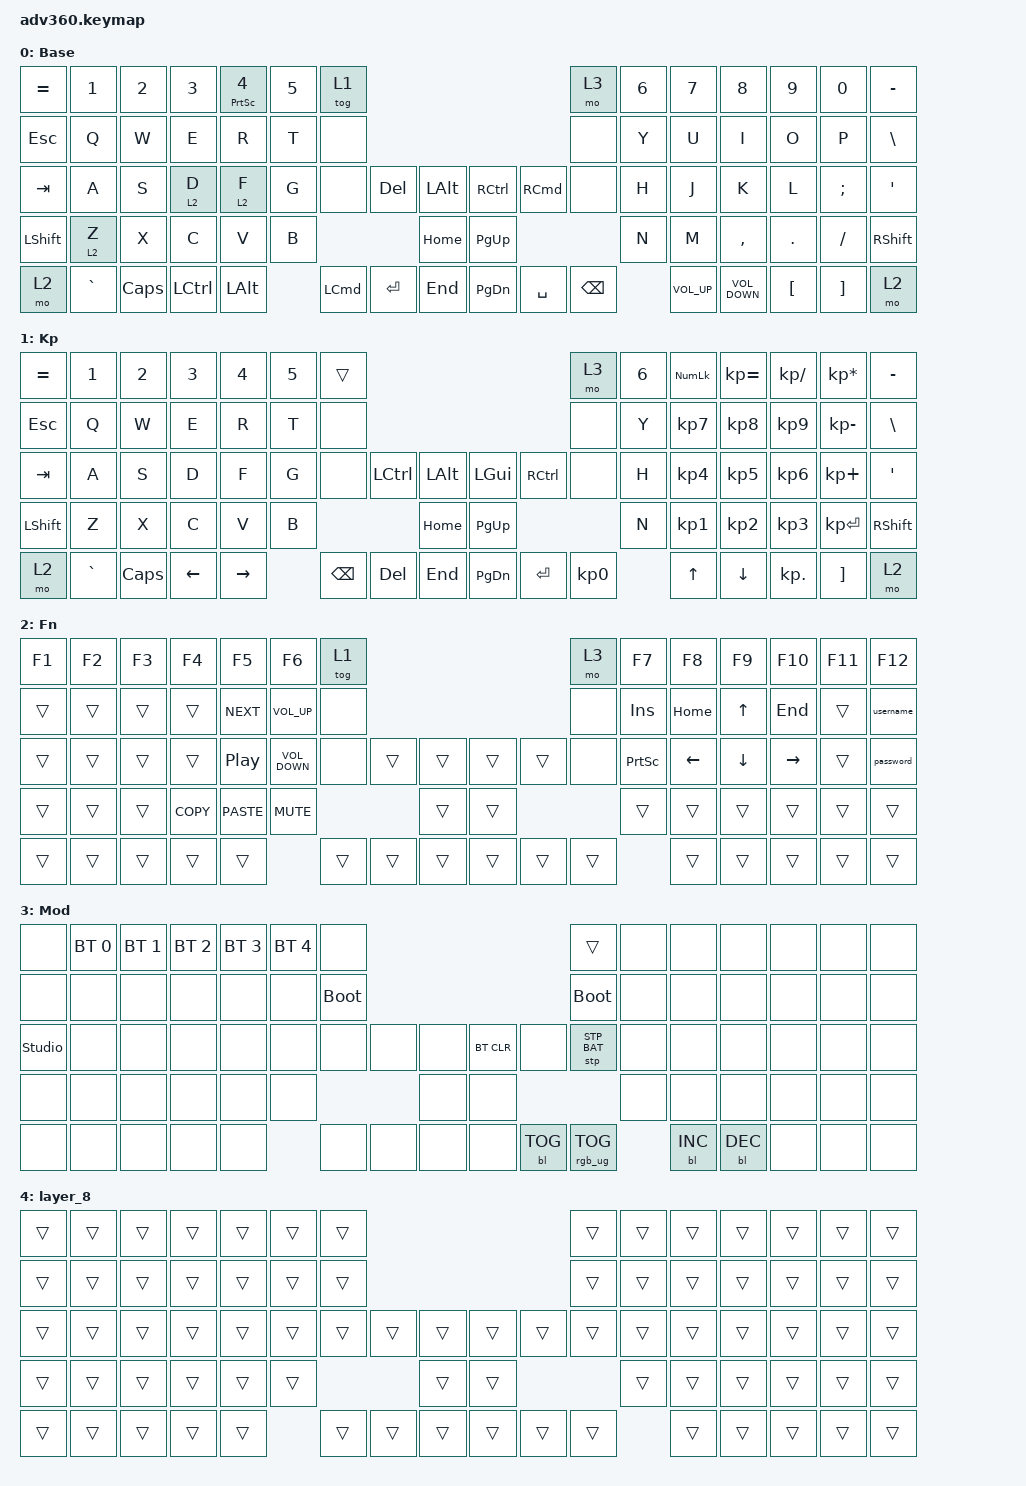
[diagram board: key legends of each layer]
#include <dt-bindings/zmk/stp.h>
#include <behaviors.dtsi>
#include <dt-bindings/zmk/backlight.h>
#include <dt-bindings/zmk/bt.h>
#include <dt-bindings/zmk/keys.h>
#include <dt-bindings/zmk/rgb.h>

/ {
    behaviors {
        #include "macros.dtsi"
      #include "version.dtsi"

        hm: homerow_mods {
            compatible = "zmk,behavior-hold-tap";
            label = "HOMEROW_MODS";
            #binding-cells = <2>;
            tapping-term-ms = <200>;
            quick_tap_ms = <175>;
            flavor = "tap-preferred";
            bindings = <&kp>, <&kp>;
        };
    };

    macros {
        password: password {
            compatible = "zmk,behavior-macro";
            #binding-cells = <0>;
            bindings = <&kp LS(D) &kp H &kp A &kp L &kp U &kp AT_SIGN &kp KP_N1 &kp KP_NUMBER_2 &kp KP_N3>;
            label = "PASSWORD";
        };

        username: username {
            compatible = "zmk,behavior-macro";
            #binding-cells = <0>;
            bindings = <&kp B &kp I &kp S &kp W &kp A &kp DOT &kp N &kp A &kp N &kp D &kp A &kp AT_SIGN &kp H &kp O &kp T &kp M &kp A &kp I &kp L &kp PERIOD &kp C &kp O &kp M>;
            label = "USERNAME";
        };
    };

    combos {
        compatible = "zmk,combos";

        copy {
            bindings = <&hm LC(INSERT) C>;
            key-positions = <49>;
        };

        paste {
            bindings = <&hm LS(INSERT) V>;
            key-positions = <50>;
        };

        Cut {
            bindings = <&hm LC(X) X>;
            key-positions = <48>;
        };
    };

    keymap {
        compatible = "zmk,keymap";

        default_layer {
            display-name = "Base";
            bindings = <
&kp EQUAL   &kp N1     &kp N2    &kp N3            &hm PRINTSCREEN NUMBER_4  &kp N5  &tog 1                                                                            &mo 3          &kp N6  &kp N7           &kp N8             &kp N9    &kp N0    &kp MINUS
&kp ESCAPE  &kp Q      &kp W     &kp E             &kp R                     &kp T   &none                                                                             &none          &kp Y   &kp U            &kp I              &kp O     &kp P     &kp BSLH
&kp TAB     &kp A      &kp S     &lt 2 D           &lt 2 F                   &kp G   &none             &kp DELETE  &kp LALT      &kp RIGHT_CONTROL  &kp RIGHT_COMMAND  &none          &kp H   &kp J            &kp K              &kp L     &kp SEMI  &kp SQT
&kp LSHFT   &lt 2 Z    &kp X     &kp C             &kp V                     &kp B                                 &kp HOME      &kp PAGE_UP                                          &kp N   &kp M            &kp COMMA          &kp DOT   &kp FSLH  &kp RSHFT
&mo 2       &kp GRAVE  &kp CAPS  &kp LEFT_CONTROL  &kp LEFT_ALT                      &kp LEFT_COMMAND  &kp ENTER   &kp END       &kp PAGE_DOWN      &kp SPACE          &kp BACKSPACE          &kp C_VOLUME_UP  &kp C_VOLUME_DOWN  &kp LBKT  &kp RBKT  &mo 2
            >;
        };

        keypad {
            display-name = "Kp";
            bindings = <
&kp EQUAL   &kp N1     &kp N2    &kp N3    &kp N4     &kp N5  &trans                                                   &mo 3      &kp N6  &kp KP_NUM  &kp KP_EQUAL  &kp KP_DIVIDE  &kp KP_MULTIPLY  &kp MINUS
&kp ESCAPE  &kp Q      &kp W     &kp E     &kp R      &kp T   &none                                                    &none      &kp Y   &kp KP_N7   &kp KP_N8     &kp KP_N9      &kp KP_MINUS     &kp BSLH
&kp TAB     &kp A      &kp S     &kp D     &kp F      &kp G   &none     &kp LCTRL  &kp LALT      &kp LGUI   &kp RCTRL  &none      &kp H   &kp KP_N4   &kp KP_N5     &kp KP_N6      &kp KP_PLUS      &kp SQT
&kp LSHFT   &kp Z      &kp X     &kp C     &kp V      &kp B                        &kp HOME      &kp PG_UP                        &kp N   &kp KP_N1   &kp KP_N2     &kp KP_N3      &kp KP_ENTER     &kp RSHFT
&mo 2       &kp GRAVE  &kp CAPS  &kp LEFT  &kp RIGHT          &kp BSPC  &kp DEL    &kp END       &kp PG_DN  &kp ENTER  &kp KP_N0          &kp UP      &kp DOWN      &kp KP_DOT     &kp RBKT         &mo 2
            >;
        };

        fn {
            display-name = "Fn";
            bindings = <
&kp F1  &kp F2  &kp F3  &kp F4      &kp F5            &kp F6             &tog 1                                      &mo 3   &kp F7           &kp F8          &kp F9          &kp F10          &kp F11  &kp F12
&trans  &trans  &trans  &trans      &kp C_NEXT        &kp C_VOLUME_UP    &none                                       &none   &kp INS          &kp HOME        &kp UP_ARROW    &kp END          &trans   &username
&trans  &trans  &trans  &trans      &kp C_PLAY_PAUSE  &kp C_VOLUME_DOWN  &none   &trans  &trans      &trans  &trans  &none   &kp PRINTSCREEN  &kp LEFT_ARROW  &kp DOWN_ARROW  &kp RIGHT_ARROW  &trans   &password
&trans  &trans  &trans  &kp K_COPY  &kp K_PASTE       &kp C_MUTE                         &trans      &trans                  &trans           &trans          &trans          &trans           &trans   &trans
&trans  &trans  &trans  &trans      &trans                               &trans  &trans  &trans      &trans  &trans  &trans                   &trans          &trans          &trans           &trans   &trans
            >;
        };

        mod {
            display-name = "Mod";
            bindings = <
&none           &bt BT_SEL 0  &bt BT_SEL 1  &bt BT_SEL 2  &bt BT_SEL 3  &bt BT_SEL 4  &none                                                  &trans           &none  &none       &none       &none  &none  &none
&none           &none         &none         &none         &none         &none         &bootloader                                            &bootloader      &none  &none       &none       &none  &none  &none
&studio_unlock  &none         &none         &none         &none         &none         &none        &none  &none      &bt BT_CLR  &none       &stp STP_BAT     &none  &none       &none       &none  &none  &none
&none           &none         &none         &none         &none         &none                             &none      &none                                    &none  &none       &none       &none  &none  &none
&none           &none         &none         &none         &none                       &none        &none  &none      &none       &bl BL_TOG  &rgb_ug RGB_TOG         &bl BL_INC  &bl BL_DEC  &none  &none  &none
            >;
        };

        extra1 {
            display-name = "Red";
            status = "reserved";
        };

        extra2 {
            display-name = "Purple";
            status = "reserved";
        };

        extra3 {
            display-name = "Cyan";
            status = "reserved";
        };

        extra4 {
            display-name = "Yellow";
            status = "reserved";
        };

        layer_8 {
            bindings = <
&trans  &trans  &trans  &trans  &trans  &trans  &trans                                      &trans  &trans  &trans  &trans  &trans  &trans  &trans
&trans  &trans  &trans  &trans  &trans  &trans  &trans                                      &trans  &trans  &trans  &trans  &trans  &trans  &trans
&trans  &trans  &trans  &trans  &trans  &trans  &trans  &trans  &trans      &trans  &trans  &trans  &trans  &trans  &trans  &trans  &trans  &trans
&trans  &trans  &trans  &trans  &trans  &trans                  &trans      &trans                  &trans  &trans  &trans  &trans  &trans  &trans
&trans  &trans  &trans  &trans  &trans          &trans  &trans  &trans      &trans  &trans  &trans          &trans  &trans  &trans  &trans  &trans
            >;
        };
    };
};
